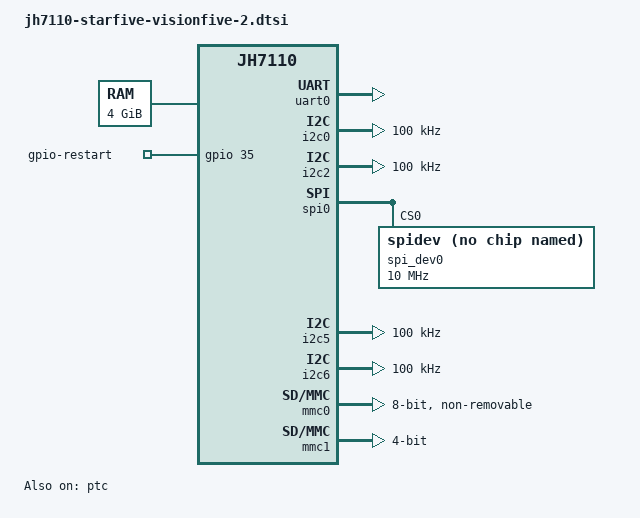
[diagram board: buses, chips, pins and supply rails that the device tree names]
// SPDX-License-Identifier: GPL-2.0 OR MIT
/*
 * Copyright (C) 2022 StarFive Technology Co., Ltd.
 * Copyright (C) 2022 Emil Renner Berthing <kernel@esmil.dk>
 */

/dts-v1/;
#include "jh7110.dtsi"
#include "jh7110-pinfunc.h"
#include <dt-bindings/gpio/gpio.h>

/ {
	aliases {
		serial0 = &uart0;
		i2c0 = &i2c0;
		i2c2 = &i2c2;
		spi0 = &qspi;
		i2c5 = &i2c5;
		i2c6 = &i2c6;
	};

	chosen {
		stdout-path = "serial0:115200n8";
	};

	cpus {
		timebase-frequency = <4000000>;
	};

	memory@40000000 {
		device_type = "memory";
		reg = <0x0 0x40000000 0x1 0x0>;
	};

	thermal-zones {
		cpu-thermal {
			polling-delay-passive = <250>;
			polling-delay = <15000>;

			thermal-sensors = <&sfctemp>;

			cooling-maps {
			};

			trips {
				cpu_alert0: cpu_alert0 {
					/* milliCelsius */
					temperature = <75000>;
					hysteresis = <2000>;
					type = "passive";
				};

				cpu_crit: cpu_crit {
					/* milliCelsius */
					temperature = <90000>;
					hysteresis = <2000>;
					type = "critical";
				};
			};
		};
	};

	gpio-restart {
		compatible = "gpio-restart";
		gpios = <&gpio 35 GPIO_ACTIVE_HIGH>;
		priority = <224>;
	};
};

&osc {
	clock-frequency = <24000000>;
};

&rtc_osc {
	clock-frequency = <32768>;
};

&gmac0_rmii_refin {
	clock-frequency = <50000000>;
};

&gmac0_rgmii_rxin {
	clock-frequency = <125000000>;
};

&gmac1_rmii_refin {
	clock-frequency = <50000000>;
};

&gmac1_rgmii_rxin {
	clock-frequency = <125000000>;
};

&i2stx_bclk_ext {
	clock-frequency = <12288000>;
};

&i2stx_lrck_ext {
	clock-frequency = <192000>;
};

&i2srx_bclk_ext {
	clock-frequency = <12288000>;
};

&i2srx_lrck_ext {
	clock-frequency = <192000>;
};

&tdm_ext {
	clock-frequency = <49152000>;
};

&mclk_ext {
	clock-frequency = <12288000>;
};

&dvp_clk {
	clock-frequency = <74250000>;
};

&hdmitx0_pixelclk {
	clock-frequency = <297000000>;
};

&uart0 {
	pinctrl-names = "default";
	pinctrl-0 = <&uart0_pins>;
	status = "okay";
};

&i2c0 {
	clock-frequency = <100000>;
	i2c-sda-hold-time-ns = <300>;
	i2c-sda-falling-time-ns = <510>;
	i2c-scl-falling-time-ns = <510>;
	pinctrl-names = "default";
	pinctrl-0 = <&i2c0_pins>;
	status = "okay";
};

&i2c2 {
	clock-frequency = <100000>;
	i2c-sda-hold-time-ns = <300>;
	i2c-sda-falling-time-ns = <510>;
	i2c-scl-falling-time-ns = <510>;
	pinctrl-names = "default";
	pinctrl-0 = <&i2c2_pins>;
	status = "okay";
};

&spi0 {
	pinctrl-names = "default";
	pinctrl-0 = <&spi0_pins>;
	status = "okay";

	spi_dev0: spi@0 {
		compatible = "rohm,dh2228fv";
		pl022,com-mode = <1>;
		spi-max-frequency = <10000000>;
		reg = <0>;
		status = "okay";
	};
};

&i2c5 {
	clock-frequency = <100000>;
	i2c-sda-hold-time-ns = <300>;
	i2c-sda-falling-time-ns = <510>;
	i2c-scl-falling-time-ns = <510>;
	pinctrl-names = "default";
	pinctrl-0 = <&i2c5_pins>;
	status = "okay";
};

&i2c6 {
	clock-frequency = <100000>;
	i2c-sda-hold-time-ns = <300>;
	i2c-sda-falling-time-ns = <510>;
	i2c-scl-falling-time-ns = <510>;
	pinctrl-names = "default";
	pinctrl-0 = <&i2c6_pins>;
	status = "okay";
};

&ptc {
	pinctrl-names = "default";
	pinctrl-0 = <&pwm_pins>;
	status = "okay";
};

&gpio {
	uart0_pins: uart0-0 {
		tx-pins {
			pinmux = <GPIOMUX(5, GPOUT_SYS_UART0_TX, GPOEN_ENABLE, GPI_NONE)>;
			bias-disable;
			drive-strength = <12>;
			input-disable;
			input-schmitt-disable;
			slew-rate = <0>;
		};

		rx-pins {
			pinmux = <GPIOMUX(6, GPOUT_LOW, GPOEN_DISABLE, GPI_SYS_UART0_RX)>;
			bias-disable; /* external pull-up */
			drive-strength = <2>;
			input-enable;
			input-schmitt-enable;
			slew-rate = <0>;
		};
	};

	i2c0_pins: i2c0-0 {
		i2c-pins {
			pinmux = <GPIOMUX(57, GPOUT_LOW,
					      GPOEN_SYS_I2C0_CLK,
					      GPI_SYS_I2C0_CLK)>,
				 <GPIOMUX(58, GPOUT_LOW,
					      GPOEN_SYS_I2C0_DATA,
					      GPI_SYS_I2C0_DATA)>;
			bias-disable; /* external pull-up */
			input-enable;
			input-schmitt-enable;
		};
	};

	i2c2_pins: i2c2-0 {
		i2c-pins {
			pinmux = <GPIOMUX(3, GPOUT_LOW,
					     GPOEN_SYS_I2C2_CLK,
					     GPI_SYS_I2C2_CLK)>,
				 <GPIOMUX(2, GPOUT_LOW,
					     GPOEN_SYS_I2C2_DATA,
					     GPI_SYS_I2C2_DATA)>;
			bias-disable; /* external pull-up */
			input-enable;
			input-schmitt-enable;
		};
	};

	spi0_pins: spi0-0 {
		mosi-pins {
			pinmux = <GPIOMUX(52, GPOUT_SYS_SPI0_TXD, GPOEN_ENABLE, GPI_NONE)>;
			bias-disable;
			input-disable;
			input-schmitt-disable;
		};

		miso-pins {
			pinmux = <GPIOMUX(53, GPOUT_LOW, GPOEN_DISABLE, GPI_SYS_SPI0_RXD)>;
			bias-pull-up;
			input-enable;
			input-schmitt-enable;
		};

		sck-pins {
			pinmux = <GPIOMUX(48, GPOUT_SYS_SPI0_CLK, GPOEN_ENABLE, GPI_NONE)>;
			bias-disable;
			input-disable;
			input-schmitt-disable;
		};

		ss-pins {
			pinmux = <GPIOMUX(49, GPOUT_SYS_SPI0_FSS, GPOEN_ENABLE, GPI_NONE)>;
			bias-disable;
			input-disable;
			input-schmitt-disable;
		};
	};

	i2c5_pins: i2c5-0 {
		i2c-pins {
			pinmux = <GPIOMUX(19, GPOUT_LOW,
					      GPOEN_SYS_I2C5_CLK,
					      GPI_SYS_I2C5_CLK)>,
				 <GPIOMUX(20, GPOUT_LOW,
					      GPOEN_SYS_I2C5_DATA,
					      GPI_SYS_I2C5_DATA)>;
			bias-disable; /* external pull-up */
			input-enable;
			input-schmitt-enable;
		};
	};

	i2c6_pins: i2c6-0 {
		i2c-pins {
			pinmux = <GPIOMUX(16, GPOUT_LOW,
					      GPOEN_SYS_I2C6_CLK,
					      GPI_SYS_I2C6_CLK)>,
				 <GPIOMUX(17, GPOUT_LOW,
					      GPOEN_SYS_I2C6_DATA,
					      GPI_SYS_I2C6_DATA)>;
			bias-disable; /* external pull-up */
			input-enable;
			input-schmitt-enable;
		};
	};

	pwm_pins: pwm-0 {
		pwm-pins {
			pinmux = <GPIOMUX(46, GPOUT_SYS_PWM_CHANNEL0,
					GPOEN_SYS_PWM0_CHANNEL0, GPI_NONE)>,
					<GPIOMUX(59, GPOUT_SYS_PWM_CHANNEL1,
					GPOEN_SYS_PWM0_CHANNEL1, GPI_NONE)>;
			bias-disable;
			drive-strength = <12>;
			input-disable;
			input-schmitt-disable;
			slew-rate = <0>;
		};
	};

	mmc0_pins: mmc0-pins {
		 mmc0-pins-rest {
			pinmux = <GPIOMUX(62, GPOUT_SYS_SDIO0_RST,
						GPOEN_ENABLE, GPI_NONE)>;
			bias-pull-up;
			drive-strength = <12>;
			input-disable;
			input-schmitt-disable;
			slew-rate = <0>;
		};
	};

	sdcard1_pins: sdcard1-pins {
		sdcard1-pins0 {
			pinmux = <GPIOMUX(10, GPOUT_SYS_SDIO1_CLK,
						GPOEN_ENABLE, GPI_NONE)>;
			bias-pull-up;
			drive-strength = <12>;
			input-disable;
			input-schmitt-disable;
			slew-rate = <0>;
		};

		sdcard1-pins1 {
			pinmux = <GPIOMUX(9, GPOUT_SYS_SDIO1_CMD,
						GPOEN_SYS_SDIO1_CMD, GPI_SYS_SDIO1_CMD)>;
			bias-pull-up;
			drive-strength = <12>;
			input-enable;
			input-schmitt-enable;
			slew-rate = <0>;
		};

		sdcard1-pins2 {
			pinmux = <GPIOMUX(11, GPOUT_SYS_SDIO1_DATA0,
						GPOEN_SYS_SDIO1_DATA0, GPI_SYS_SDIO1_DATA0)>;
			bias-pull-up;
			drive-strength = <12>;
			input-enable;
			input-schmitt-enable;
			slew-rate = <0>;
		};

		sdcard1-pins3 {
			pinmux = <GPIOMUX(12, GPOUT_SYS_SDIO1_DATA1,
						GPOEN_SYS_SDIO1_DATA1, GPI_SYS_SDIO1_DATA1)>;
			bias-pull-up;
			drive-strength = <12>;
			input-enable;
			input-schmitt-enable;
			slew-rate = <0>;
		};

		sdcard1-pins4 {
			pinmux = <GPIOMUX(7, GPOUT_SYS_SDIO1_DATA2,
						GPOEN_SYS_SDIO1_DATA2, GPI_SYS_SDIO1_DATA2)>;
			bias-pull-up;
			drive-strength = <12>;
			input-enable;
			input-schmitt-enable;
			slew-rate = <0>;
		};

		sdcard1-pins5 {
			pinmux = <GPIOMUX(8, GPOUT_SYS_SDIO1_DATA3,
						GPOEN_SYS_SDIO1_DATA3, GPI_SYS_SDIO1_DATA3)>;
			bias-pull-up;
			drive-strength = <12>;
			input-enable;
			input-schmitt-enable;
			slew-rate = <0>;
		};
	};
};

&mmc0 {
	max-frequency = <100000000>;
	bus-width = <8>;
	cap-mmc-highspeed;
	mmc-ddr-1_8v;
	mmc-hs200-1_8v;
	non-removable;
	cap-mmc-hw-reset;
	post-power-on-delay-ms = <200>;
	pinctrl-names = "default";
	pinctrl-0 = <&mmc0_pins>;
	status = "okay";
};

&mmc1 {
	max-frequency = <100000000>;
	bus-width = <4>;
	no-sdio;
	no-mmc;
	broken-cd;
	cap-sd-highspeed;
	post-power-on-delay-ms = <200>;
	pinctrl-names = "default";
	pinctrl-0 = <&sdcard1_pins>;
	status = "okay";
};
